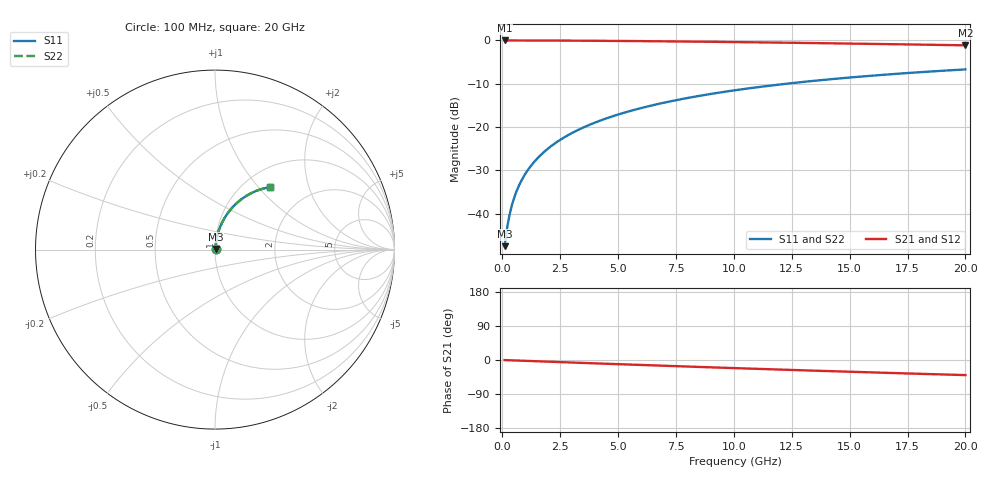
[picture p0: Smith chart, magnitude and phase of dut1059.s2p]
! Touchstone file exported from HFSS 2026.1.0
!  File:  C:/ffzhzh/LocalFiles/Ansys_Project_Files/temp_train_BSMRDL_1059_1783174075_55132.aedt
!  Generated:  10:09:10 PM Jul  4, 2026
!  Design:  BSMRDL
!  Project:  temp_train_BSMRDL_1059_1783174075_55132
! Variables:
!  h_bsmrdl = 4.88um
!  h_ox = 20um
!  h_rdl = 5um
!  h_sub = 80um
!  h_tmrdl = 5um
!  h_tsv = 80um
!  h_via = 3um
!  l_bsmrdl = 503.05um
!  l_sub = 903.05um
!  l_tmrdl = 200um
!  m_sub = 200um
!  pitch = 53.82um
!  r_tsv = 6um
!  s_tmrdl = 10um
!  w_bsmrdl = 12.4um
!  w_sub = 500um
!  w_tmrdl = 12um
!  x_tsv_center1 = 206um
!  x_tsv_center2 = 721.45um
!  x_tsv_center3 = 933.45um
!  x_tsv_center4 = 1448.9um
!  x_tsv_center5 = 1660.9um
!  x_tsv_center6 = 2176.35um
# GHz S MA R 50.000000
! Terminal data exported
! Port[1] = BSM_RDL1_1_T1
! Port[2] = BSM_RDL1_1_T2
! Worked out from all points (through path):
!   200 points, 100 MHz to 20 GHz, reference 50 ohm
!   highest |S21| = -0.03 dB at 100 MHz (marker M1); lowest = -1.1 dB at 20 GHz (marker M2)
!   group delay of S21, straight-line fit = 5.54 ps
!   lowest |S11| = -47.5 dB at 100 MHz (marker M3), VSWR 1.01, Z = 50.3 + j0.295 ohm
!   |S11| at or under -10 dB: start of sweep to 12.3 GHz
!   |S22| runs from -47.5 to -6.7 dB; largest |S21 - S12| = 3.4e-15
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0.1  0.004206 44.2  0.997 -0.2  0.997 -0.2  0.004206 44.2
! Gamma 0 0 0 0
! Port Impedance 50 0 50 0
0.2  0.006618 62.1  0.9969 -0.5  0.9969 -0.5  0.006618 62.1
0.3  0.009314 69.8  0.9968 -0.7  0.9968 -0.7  0.009314 69.8
0.4  0.01209 73.8  0.9967 -0.9  0.9967 -0.9  0.01209 73.8
0.5  0.01488 76.2  0.9966 -1.1  0.9966 -1.1  0.01488 76.2
0.6  0.01769 77.8  0.9965 -1.4  0.9965 -1.4  0.01769 77.8
0.8  0.0233 79.7  0.9963 -1.8  0.9963 -1.8  0.0233 79.7
1.1  0.03174 81.1  0.996 -2.5  0.996 -2.5  0.03174 81.1
1.5  0.04299 81.6  0.9954 -3.4  0.9954 -3.4  0.04299 81.6
1.8  0.05142 81.6  0.9949 -4.0  0.9949 -4.0  0.05142 81.6
2.1  0.05983 81.4  0.9943 -4.7  0.9943 -4.7  0.05983 81.4
2.7  0.07656 80.7  0.9928 -6.0  0.9928 -6.0  0.07656 80.7
3.5  0.09863 79.4  0.9903 -7.8  0.9903 -7.8  0.09863 79.4
4.2  0.1177 78.1  0.9877 -9.3  0.9877 -9.3  0.1177 78.1
5  0.1391 76.6  0.9844 -11.0  0.9844 -11.0  0.1391 76.6
5.9  0.1628 74.8  0.9802 -12.9  0.9802 -12.9  0.1628 74.8
6.8  0.186 73.0  0.9755 -14.8  0.9755 -14.8  0.186 73.0
8.3  0.2235 70.1  0.9669 -17.9  0.9669 -17.9  0.2235 70.1
10.1  0.2666 66.6  0.9552 -21.6  0.9552 -21.6  0.2666 66.6
13.4  0.3397 60.3  0.9308 -28.0  0.9308 -28.0  0.3397 60.3
16.7  0.4049 54.4  0.904 -34.1  0.904 -34.1  0.4049 54.4
20  0.4618 48.8  0.8761 -39.8  0.8761 -39.8  0.4618 48.8
